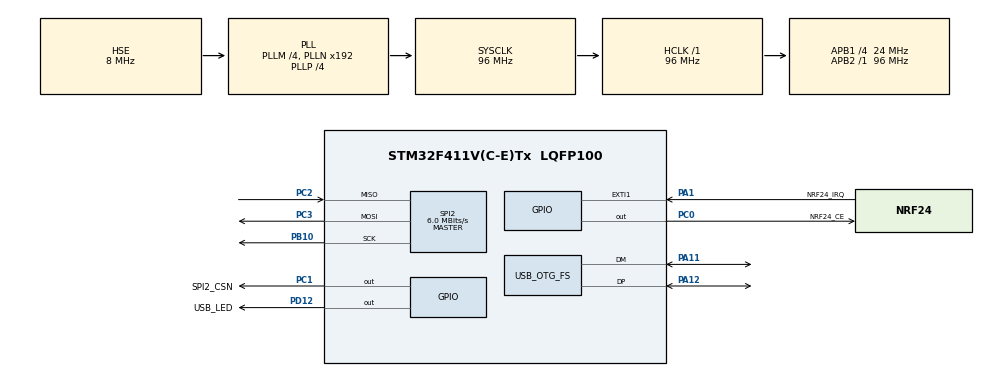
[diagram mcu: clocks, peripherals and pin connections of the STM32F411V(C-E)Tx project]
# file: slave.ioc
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Mcu.Family=STM32F4
Mcu.Name=STM32F411V(C-E)Tx
Mcu.Package=LQFP100
NVIC.EXTI1_IRQn=true\:0\:0\:false\:false\:true\:true\:true\:true
NVIC.OTG_FS_IRQn=true\:0\:0\:false\:false\:true\:false\:true\:true
NVIC.PriorityGroup=NVIC_PRIORITYGROUP_0
PA1.GPIO_Label=NRF24_IRQ
PA1.GPIO_ModeDefaultEXTI=GPIO_MODE_IT_FALLING
PA1.Signal=GPXTI1
PA11.Mode=Device_Only
PA11.Signal=USB_OTG_FS_DM
PA12.Mode=Device_Only
PA12.Signal=USB_OTG_FS_DP
PB10.Mode=Full_Duplex_Master
PB10.Signal=SPI2_SCK
PC0.GPIO_Label=NRF24_CE
PC0.PinState=GPIO_PIN_RESET
PC0.Signal=GPIO_Output
PC1.GPIO_Label=SPI2_CSN
PC1.PinState=GPIO_PIN_SET
PC1.Signal=GPIO_Output
PC2.Mode=Full_Duplex_Master
PC2.Signal=SPI2_MISO
PC3.Mode=Full_Duplex_Master
PC3.Signal=SPI2_MOSI
PD12.GPIO_Label=USB_LED
PD12.Signal=GPIO_Output
PH0\ -\ OSC_IN.Mode=HSE-External-Oscillator
PH0\ -\ OSC_IN.Signal=RCC_OSC_IN
PH1\ -\ OSC_OUT.Mode=HSE-External-Oscillator
PH1\ -\ OSC_OUT.Signal=RCC_OSC_OUT
ProjectManager.HeapSize=0x200
ProjectManager.StackSize=0x400
ProjectManager.TargetToolchain=MDK-ARM V5
RCC.48MHZClocksFreq_Value=48000000
RCC.AHBFreq_Value=96000000
RCC.APB1CLKDivider=RCC_HCLK_DIV4
RCC.APB1Freq_Value=24000000
RCC.APB1TimFreq_Value=48000000
RCC.APB2Freq_Value=96000000
RCC.APB2TimFreq_Value=96000000
RCC.CortexFreq_Value=96000000
RCC.HCLKFreq_Value=96000000
RCC.HSE_VALUE=8000000
RCC.HSI_VALUE=16000000
RCC.LSE_VALUE=32768
RCC.PLLI2SM=5
RCC.PLLI2SN=200
RCC.PLLM=4
RCC.PLLP=RCC_PLLP_DIV4
RCC.PLLQ=8
RCC.SYSCLKFreq_VALUE=96000000
RCC.SYSCLKSource=RCC_SYSCLKSOURCE_PLLCLK
RCC.VCOOutputFreq_Value=384000000
SPI2.BaudRatePrescaler=SPI_BAUDRATEPRESCALER_4
SPI2.CalculateBaudRate=6.0 MBits/s
SPI2.Direction=SPI_DIRECTION_2LINES
SPI2.Mode=SPI_MODE_MASTER
SPI2.VirtualType=VM_MASTER
USB_DEVICE.CLASS_NAME_FS=CDC
USB_DEVICE.VirtualMode=Cdc
USB_DEVICE.VirtualModeFS=Cdc_FS
USB_OTG_FS.VirtualMode=Device_Only
VP_USB_DEVICE_VS_USB_DEVICE_CDC_FS.Mode=CDC_FS
board=STM32F411E-DISCO

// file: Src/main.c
/* USER CODE BEGIN Header */
/**
  ******************************************************************************
  * @file           : main.c
  * @brief          : Main program body
  ******************************************************************************
  * @attention
  *
  * Copyright (c) 2024 STMicroelectronics.
  * All rights reserved.
  *
  * This software is licensed under terms that can be found in the LICENSE file
  * in the root directory of this software component.
  * If no LICENSE file comes with this software, it is provided AS-IS.
  *
  ******************************************************************************
  */
/* USER CODE END Header */
#include "main.h"
#include "spi.h"
#include "usb_device.h"
#include "gpio.h"

/* USER CODE BEGIN Includes */
#include "usbd_cdc_if.h"
#include "nrf24l01p.h"
//#include "usbd_cdc_if.c"
//#include "usbd_cdc.h"
/* USER CODE END Includes */

/* USER CODE BEGIN PD */
#define HEADER 0x55
// Status
#define WITHOUT_OP     0x00
#define OK             0x01
#define INVALID_HEADER 0x02
#define INVALID_CRC    0x03
#define UNDEFINED_ERR  0x04

#define CH_MHZ 2500
/* USER CODE END PD */

void SystemClock_Config(void);
/* USER CODE BEGIN PFP */
void HAL_GPIO_EXTI_Callback(uint16_t GPIO_Pin);
/* USER CODE END PFP */

/* USER CODE BEGIN 0 */
uint8_t rx_data[NRF24L01P_PAYLOAD_LENGTH] = {0, 1, 2};
uint8_t tx_data[NRF24L01P_PAYLOAD_LENGTH] = {0, 1, 2};
/* USER CODE END 0 */

/**
MK Port     Interface
	PA1				NRF24_IRQ
	PA11			USB_OTG_FS_DP
	PA12			USB_OTG_FS_DM
	PB10			SPI2_SCK
	PC0				NRF24_CE
	PC1				SPI2_CSN
	PC2				SPI2_MISO
	PC3				SPI2_MOSI
	PD12			USB_LED
	PH0				RCC_OSC_IN
	PH1				RCC_OSC_OUT
*/

int main(void)
{

  /* MCU Configuration--------------------------------------------------------*/

  /* Reset of all peripherals, Initializes the Flash interface and the Systick. */
  HAL_Init();

  /* Configure the system clock */
  SystemClock_Config();

  /* Initialize all configured peripherals */
  MX_GPIO_Init();
  MX_USB_DEVICE_Init();
  MX_SPI2_Init();
  /* USER CODE BEGIN 2 */
	nrf24l01p_rx_init(2500, _1Mbps);
  /* USER CODE END 2 */

  /* Infinite loop */
  while (1)
  {

  }
}

void SystemClock_Config(void)
{
  RCC_OscInitTypeDef RCC_OscInitStruct = {0};
  RCC_ClkInitTypeDef RCC_ClkInitStruct = {0};

  /** Configure the main internal regulator output voltage
  */
  __HAL_RCC_PWR_CLK_ENABLE();
  __HAL_PWR_VOLTAGESCALING_CONFIG(PWR_REGULATOR_VOLTAGE_SCALE1);

  /** Initializes the RCC Oscillators according to the specified parameters
  * in the RCC_OscInitTypeDef structure.
  */
  RCC_OscInitStruct.OscillatorType = RCC_OSCILLATORTYPE_HSE;
  RCC_OscInitStruct.HSEState = RCC_HSE_ON;
  RCC_OscInitStruct.PLL.PLLState = RCC_PLL_ON;
  RCC_OscInitStruct.PLL.PLLSource = RCC_PLLSOURCE_HSE;
  RCC_OscInitStruct.PLL.PLLM = 4;
  RCC_OscInitStruct.PLL.PLLN = 192;
  RCC_OscInitStruct.PLL.PLLP = RCC_PLLP_DIV4;
  RCC_OscInitStruct.PLL.PLLQ = 8;
  if (HAL_RCC_OscConfig(&RCC_OscInitStruct) != HAL_OK)
  {
    Error_Handler();
  }

  /** Initializes the CPU, AHB and APB buses clocks
  */
  RCC_ClkInitStruct.ClockType = RCC_CLOCKTYPE_HCLK|RCC_CLOCKTYPE_SYSCLK
                              |RCC_CLOCKTYPE_PCLK1|RCC_CLOCKTYPE_PCLK2;
  RCC_ClkInitStruct.SYSCLKSource = RCC_SYSCLKSOURCE_PLLCLK;
  RCC_ClkInitStruct.AHBCLKDivider = RCC_SYSCLK_DIV1;
  RCC_ClkInitStruct.APB1CLKDivider = RCC_HCLK_DIV4;
  RCC_ClkInitStruct.APB2CLKDivider = RCC_HCLK_DIV1;

  if (HAL_RCC_ClockConfig(&RCC_ClkInitStruct, FLASH_LATENCY_3) != HAL_OK)
  {
    Error_Handler();
  }
}

/* USER CODE BEGIN 4 */
void HAL_GPIO_EXTI_Callback(uint16_t GPIO_Pin)
{
	if(GPIO_Pin == NRF24_IRQ_Pin)
	{
		uint8_t crc = 0x00;
		uint8_t status;
		uint16_t val_x, val_y;

		// Receive & Start Analyze
		nrf24l01p_rx_receive(rx_data);
		char msg[300];
		if(rx_data[0] == HEADER)
		{
			for(int i = 0; i < 5; ++i)
			{
				crc+= rx_data[i];
			}

			//crc = rx_data[0] + rx_data[1];
			if(crc == rx_data[5])
			{
				val_x = ( (uint16_t)rx_data[2] << 8 ) | rx_data[1];
				val_y = ( (uint16_t)rx_data[4] << 8 ) | rx_data[3];
				sprintf(msg, "\n[SLAVE] : Received bytes:\n\r0: 0x%0x\n\r1: 0x%0x\n\r2: 0x%0x\n\r3: 0x%0x\n\r4: 0x%0x\n\r5: 0x%0x\n\r(x, y) = (%4d, %4d)\n\rPacket is OK\n\r",
            rx_data[0], rx_data[1], rx_data[2], rx_data[3], rx_data[4], rx_data[5], val_x, val_y);
				status = OK;
			}
			else
			{
				sprintf(msg, "\n[SLAVE] : Received bytes:\n\r0: 0x%0x\n\r1: 0x%0x\n\r2: 0x%0x\n\r3: 0x%0x\n\r4: 0x%0x\n\r5: 0x%0x\n\rCRC Mismatched\n\r",
            rx_data[0], rx_data[1], rx_data[2], rx_data[3], rx_data[4], rx_data[5]);
				status = INVALID_CRC;
			}
		}
		else
		{
			sprintf(msg, "\n[SLAVE] : Received bytes:\n\r0: 0x%0x\n\r1: 0x%0x\n\r2: 0x%0x\n\r3: 0x%0x\n\r4: 0x%0x\n\r5: 0x%0x\n\rInvalid Header\n\r",
            rx_data[0], rx_data[1], rx_data[2], rx_data[3], rx_data[4], rx_data[5]);
			status = INVALID_HEADER;
		}

		CDC_Transmit_FS((uint8_t*)msg, (uint16_t)strlen(msg));

		HAL_GPIO_TogglePin(USB_LED_GPIO_Port, USB_LED_Pin);

		/*
		//HAL_Delay(100);

		// Send respond
		nrf24l01p_ptx_mode();
		//nrf24l01p_tx_init(2500, _1Mbps);
		tx_data[0] = HEADER;
		tx_data[1] = status;
		tx_data[2] = tx_data[0] + tx_data[1];
		//HAL_Delay(10);
		nrf24l01p_tx_transmit(tx_data);

		// Back to receive mode
		nrf24l01p_prx_mode();
		*/
	}
}
/* USER CODE END 4 */

void Error_Handler(void)
{
  __disable_irq();
  while (1)
  {
  }
}
